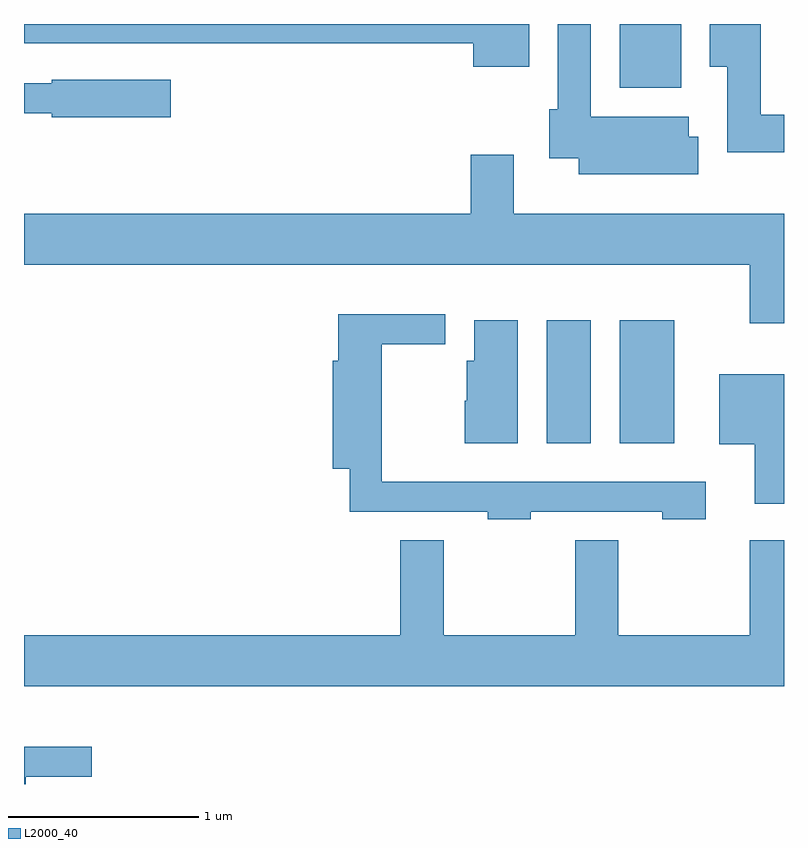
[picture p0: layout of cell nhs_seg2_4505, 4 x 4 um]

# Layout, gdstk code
import gdstk
lib = gdstk.Library(unit=1e-6, precision=1e-09)
def R(c, l, rs):  # rectangles x0, y0, x1, y1
    for r in rs: c.add(gdstk.rectangle(r[:2], r[2:], *l))
def P(c, l, *ps):  # polygons
    for p in ps: c.add(gdstk.Polygon(p, *l))
L2000_40 = (2000, 40)

nhs_seg2_4505 = lib.new_cell('nhs_seg2_4505')
R(nhs_seg2_4505, L2000_40, [(320.361,1049.596,320.594,1050.244), (320.746,1049.596,321.034,1050.244), (320.746,1051.466,321.069,1051.802)])
P(nhs_seg2_4505, L2000_40, [(321.159,1051.209),(321.109,1051.209),(321.109,1051.314),(320.594,1051.314),(320.594,1051.802),(320.421,1051.802),(320.421,1051.354),(320.376,1051.354),(320.376,1051.096),(320.531,1051.096),(320.531,1051.011),(321.159,1051.011)],
  [(320.269,1051.802),(317.611,1051.802),(317.611,1051.701),(319.976,1051.701),(319.976,1051.576),(320.269,1051.576)],
  [(321.611,1051.324),(321.489,1051.324),(321.489,1051.802),(321.221,1051.802),(321.221,1051.576),(321.311,1051.576),(321.311,1051.126),(321.611,1051.126)],
  [(318.384,1051.509),(317.756,1051.509),(317.756,1051.489),(317.611,1051.489),(317.611,1051.331),(317.756,1051.331),(317.756,1051.311),(318.384,1051.311)],
  [(321.611,1050.804),(320.189,1050.804),(320.189,1051.114),(319.961,1051.114),(319.961,1050.804),(317.611,1050.804),(317.611,1050.536),(321.431,1050.536),(321.431,1050.226),(321.611,1050.226)],
  [(320.279,1049.236),(320.971,1049.236),(320.971,1049.196),(321.199,1049.196),(321.199,1049.394),(319.494,1049.394),(319.494,1050.116),(319.828,1050.116),(319.828,1050.274),(319.266,1050.274),(319.266,1050.029),(319.236,1050.029),(319.236,1049.461),(319.326,1049.461),(319.326,1049.236),(320.051,1049.236),(320.051,1049.196),(320.279,1049.196)],
  [(320.209,1050.244),(319.981,1050.244),(319.981,1050.029),(319.941,1050.029),(319.941,1049.82),(319.931,1049.82),(319.931,1049.596),(320.209,1049.596)],
  [(321.611,1049.959),(321.271,1049.959),(321.271,1049.591),(321.456,1049.591),(321.456,1049.276),(321.611,1049.276)],
  [(321.611,1049.084),(321.431,1049.084),(321.431,1048.584),(320.739,1048.584),(320.739,1049.084),(320.511,1049.084),(320.511,1048.584),(319.819,1048.584),(319.819,1049.084),(319.591,1049.084),(319.591,1048.584),(317.611,1048.584),(317.611,1048.316),(321.611,1048.316)],
  [(317.619,1047.841),(317.968,1047.841),(317.968,1047.999),(317.611,1047.999),(317.611,1047.802),(317.619,1047.802)])

lib.write_gds('nhs_seg2_4505.gds')
